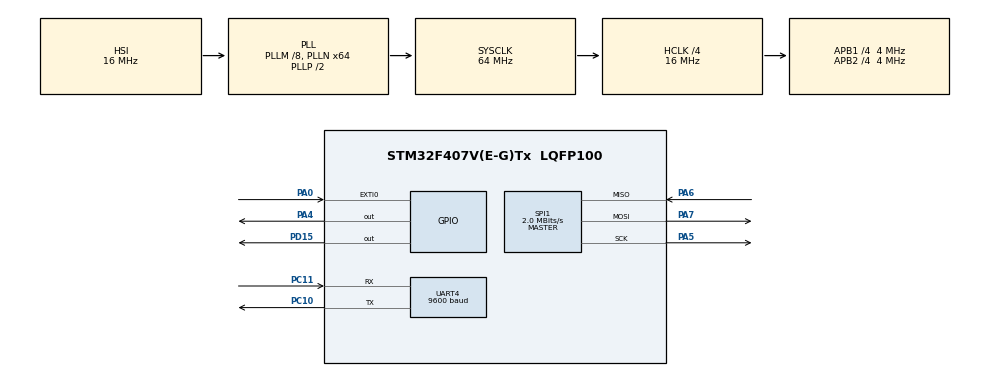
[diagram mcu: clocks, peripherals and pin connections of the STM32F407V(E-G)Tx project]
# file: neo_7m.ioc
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FATFS._MAX_SS=4096
FATFS._USE_LFN=1
Mcu.Family=STM32F4
Mcu.Name=STM32F407V(E-G)Tx
Mcu.Package=LQFP100
NVIC.EXTI0_IRQn=true\:0\:0\:false\:false\:true\:true\:true\:true
NVIC.PriorityGroup=NVIC_PRIORITYGROUP_0
NVIC.UART4_IRQn=true\:0\:0\:false\:false\:true\:true\:true\:true
PA0-WKUP.Signal=GPXTI0
PA4.Signal=GPIO_Output
PA5.GPIO_PuPd=GPIO_PULLUP
PA5.Mode=Full_Duplex_Master
PA5.Signal=SPI1_SCK
PA6.GPIO_PuPd=GPIO_PULLUP
PA6.Mode=Full_Duplex_Master
PA6.Signal=SPI1_MISO
PA7.GPIO_PuPd=GPIO_PULLUP
PA7.Mode=Full_Duplex_Master
PA7.Signal=SPI1_MOSI
PC10.Mode=Asynchronous
PC10.Signal=UART4_TX
PC11.Mode=Asynchronous
PC11.Signal=UART4_RX
PD15.Signal=GPIO_Output
ProjectManager.HeapSize=0x200
ProjectManager.StackSize=0x400
ProjectManager.TargetToolchain=STM32CubeIDE
RCC.48MHZClocksFreq_Value=18285714.285714287
RCC.AHBCLKDivider=RCC_SYSCLK_DIV4
RCC.AHBFreq_Value=16000000
RCC.APB1CLKDivider=RCC_HCLK_DIV4
RCC.APB1Freq_Value=4000000
RCC.APB1TimFreq_Value=8000000
RCC.APB2CLKDivider=RCC_HCLK_DIV4
RCC.APB2Freq_Value=4000000
RCC.APB2TimFreq_Value=8000000
RCC.CortexFreq_Value=16000000
RCC.HCLKFreq_Value=16000000
RCC.HSE_VALUE=8000000
RCC.HSI_VALUE=16000000
RCC.LSE_VALUE=32768
RCC.PLLM=8
RCC.PLLN=64
RCC.PLLQ=7
RCC.SYSCLKFreq_VALUE=64000000
RCC.SYSCLKSource=RCC_SYSCLKSOURCE_PLLCLK
RCC.VCOOutputFreq_Value=128000000
SPI1.BaudRatePrescaler=SPI_BAUDRATEPRESCALER_2
SPI1.CalculateBaudRate=2.0 MBits/s
SPI1.DataSize=SPI_DATASIZE_8BIT
SPI1.Direction=SPI_DIRECTION_2LINES
SPI1.Mode=SPI_MODE_MASTER
SPI1.VirtualType=VM_MASTER
UART4.BaudRate=9600
UART4.VirtualMode=Asynchronous
VP_FATFS_VS_Generic.Mode=User_defined
board=STM32F407G-DISC1

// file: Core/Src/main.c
/* USER CODE BEGIN Header */
/**
  ******************************************************************************
  * @file           : main.c
  * @brief          : Main program body
  ******************************************************************************
  * @attention
  *
  * Copyright (c) 2023 STMicroelectronics.
  * All rights reserved.
  *
  * This software is licensed under terms that can be found in the LICENSE file
  * in the root directory of this software component.
  * If no LICENSE file comes with this software, it is provided AS-IS.
  *
  ******************************************************************************
  */
/* USER CODE END Header */
#include "main.h"
#include "fatfs.h"

/* USER CODE BEGIN Includes */

#include <stdio.h>
/* USER CODE END Includes */

SPI_HandleTypeDef hspi1;

UART_HandleTypeDef huart4;

void SystemClock_Config(void);
static void MX_GPIO_Init(void);
static void MX_UART4_Init(void);
static void MX_SPI1_Init(void);

/* USER CODE BEGIN 0 */
volatile uint8_t uart_data=0u;
volatile uint8_t active=0u;
volatile uint8_t measurement_done=0u;
FATFS       FatFs;                //Fatfs handle
FIL         fil;                  //File handle
FRESULT     fres=FR_NOT_READY;
uint8_t new_byte=0u;
const char* start="\nstart\n\0";
//PC10-TX; PC11-RX, PA7-MOSI;PA6_MISO;PA5-SCK;PA4-CS

void HAL_UART_RxCpltCallback(UART_HandleTypeDef *huart)
{
	new_byte=1;
}

void HAL_GPIO_EXTI_Callback(uint16_t GPIO_Pin)
{
	if(!active)
	{
		active=1;
		measurement_done=0;
		HAL_GPIO_TogglePin(GPIOD, GPIO_PIN_15);
	}else{
		active=0;
		measurement_done=1;
		HAL_GPIO_TogglePin(GPIOD, GPIO_PIN_15);
	}
}
/* USER CODE END 0 */

int main(void)
{

  /* MCU Configuration--------------------------------------------------------*/

  /* Reset of all peripherals, Initializes the Flash interface and the Systick. */
  HAL_Init();

  /* Configure the system clock */
  SystemClock_Config();

  /* Initialize all configured peripherals */
  MX_GPIO_Init();
  MX_UART4_Init();
  MX_SPI1_Init();
  MX_FATFS_Init();
  /* USER CODE BEGIN 2 */

  HAL_UART_Receive_IT(&huart4, &uart_data, 1);
  /* USER CODE END 2 */

  /* Infinite loop */
  while (1)
  {
	  if(fres!=FR_OK)
	  {
		  f_mount(&FatFs, "", 0);
		  fres = f_open(&fil, "test.txt", FA_OPEN_APPEND | FA_WRITE);
		  f_puts(start,&fil);

	  }
	  while(active)
	  {
		  if(new_byte)
		  {
			f_putc(uart_data, &fil);
			new_byte=0;
			HAL_UART_Receive_IT(&huart4, &uart_data, 1);
		  }
	  }
	  if(measurement_done)
	  {
		  f_close(&fil);
		  f_mount(NULL, "", 0);
		  fres=FR_NOT_READY;
		  measurement_done=0;
	  }
  }
}

void SystemClock_Config(void)
{
  RCC_OscInitTypeDef RCC_OscInitStruct = {0};
  RCC_ClkInitTypeDef RCC_ClkInitStruct = {0};

  /** Configure the main internal regulator output voltage
  */
  __HAL_RCC_PWR_CLK_ENABLE();
  __HAL_PWR_VOLTAGESCALING_CONFIG(PWR_REGULATOR_VOLTAGE_SCALE1);

  /** Initializes the RCC Oscillators according to the specified parameters
  * in the RCC_OscInitTypeDef structure.
  */
  RCC_OscInitStruct.OscillatorType = RCC_OSCILLATORTYPE_HSI;
  RCC_OscInitStruct.HSIState = RCC_HSI_ON;
  RCC_OscInitStruct.HSICalibrationValue = RCC_HSICALIBRATION_DEFAULT;
  RCC_OscInitStruct.PLL.PLLState = RCC_PLL_ON;
  RCC_OscInitStruct.PLL.PLLSource = RCC_PLLSOURCE_HSI;
  RCC_OscInitStruct.PLL.PLLM = 8;
  RCC_OscInitStruct.PLL.PLLN = 64;
  RCC_OscInitStruct.PLL.PLLP = RCC_PLLP_DIV2;
  RCC_OscInitStruct.PLL.PLLQ = 7;
  if (HAL_RCC_OscConfig(&RCC_OscInitStruct) != HAL_OK)
  {
    Error_Handler();
  }

  /** Initializes the CPU, AHB and APB buses clocks
  */
  RCC_ClkInitStruct.ClockType = RCC_CLOCKTYPE_HCLK|RCC_CLOCKTYPE_SYSCLK
                              |RCC_CLOCKTYPE_PCLK1|RCC_CLOCKTYPE_PCLK2;
  RCC_ClkInitStruct.SYSCLKSource = RCC_SYSCLKSOURCE_PLLCLK;
  RCC_ClkInitStruct.AHBCLKDivider = RCC_SYSCLK_DIV4;
  RCC_ClkInitStruct.APB1CLKDivider = RCC_HCLK_DIV4;
  RCC_ClkInitStruct.APB2CLKDivider = RCC_HCLK_DIV4;

  if (HAL_RCC_ClockConfig(&RCC_ClkInitStruct, FLASH_LATENCY_0) != HAL_OK)
  {
    Error_Handler();
  }
}

static void MX_SPI1_Init(void)
{

  /* SPI1 parameter configuration*/
  hspi1.Instance = SPI1;
  hspi1.Init.Mode = SPI_MODE_MASTER;
  hspi1.Init.Direction = SPI_DIRECTION_2LINES;
  hspi1.Init.DataSize = SPI_DATASIZE_8BIT;
  hspi1.Init.CLKPolarity = SPI_POLARITY_LOW;
  hspi1.Init.CLKPhase = SPI_PHASE_1EDGE;
  hspi1.Init.NSS = SPI_NSS_SOFT;
  hspi1.Init.BaudRatePrescaler = SPI_BAUDRATEPRESCALER_2;
  hspi1.Init.FirstBit = SPI_FIRSTBIT_MSB;
  hspi1.Init.TIMode = SPI_TIMODE_DISABLE;
  hspi1.Init.CRCCalculation = SPI_CRCCALCULATION_DISABLE;
  hspi1.Init.CRCPolynomial = 10;
  if (HAL_SPI_Init(&hspi1) != HAL_OK)
  {
    Error_Handler();
  }

}

static void MX_UART4_Init(void)
{

  huart4.Instance = UART4;
  huart4.Init.BaudRate = 9600;
  huart4.Init.WordLength = UART_WORDLENGTH_8B;
  huart4.Init.StopBits = UART_STOPBITS_1;
  huart4.Init.Parity = UART_PARITY_NONE;
  huart4.Init.Mode = UART_MODE_TX_RX;
  huart4.Init.HwFlowCtl = UART_HWCONTROL_NONE;
  huart4.Init.OverSampling = UART_OVERSAMPLING_16;
  if (HAL_UART_Init(&huart4) != HAL_OK)
  {
    Error_Handler();
  }

}

static void MX_GPIO_Init(void)
{
  GPIO_InitTypeDef GPIO_InitStruct = {0};

  /* GPIO Ports Clock Enable */
  __HAL_RCC_GPIOA_CLK_ENABLE();
  __HAL_RCC_GPIOD_CLK_ENABLE();
  __HAL_RCC_GPIOC_CLK_ENABLE();

  /*Configure GPIO pin Output Level */
  HAL_GPIO_WritePin(GPIOA, GPIO_PIN_4, GPIO_PIN_RESET);

  /*Configure GPIO pin Output Level */
  HAL_GPIO_WritePin(GPIOD, GPIO_PIN_15, GPIO_PIN_RESET);

  /*Configure GPIO pin : PA0 */
  GPIO_InitStruct.Pin = GPIO_PIN_0;
  GPIO_InitStruct.Mode = GPIO_MODE_IT_RISING;
  GPIO_InitStruct.Pull = GPIO_NOPULL;
  HAL_GPIO_Init(GPIOA, &GPIO_InitStruct);

  /*Configure GPIO pin : PA4 */
  GPIO_InitStruct.Pin = GPIO_PIN_4;
  GPIO_InitStruct.Mode = GPIO_MODE_OUTPUT_PP;
  GPIO_InitStruct.Pull = GPIO_NOPULL;
  GPIO_InitStruct.Speed = GPIO_SPEED_FREQ_LOW;
  HAL_GPIO_Init(GPIOA, &GPIO_InitStruct);

  /*Configure GPIO pin : PD15 */
  GPIO_InitStruct.Pin = GPIO_PIN_15;
  GPIO_InitStruct.Mode = GPIO_MODE_OUTPUT_PP;
  GPIO_InitStruct.Pull = GPIO_NOPULL;
  GPIO_InitStruct.Speed = GPIO_SPEED_FREQ_LOW;
  HAL_GPIO_Init(GPIOD, &GPIO_InitStruct);

  /* EXTI interrupt init*/
  HAL_NVIC_SetPriority(EXTI0_IRQn, 0, 0);
  HAL_NVIC_EnableIRQ(EXTI0_IRQn);

}

void Error_Handler(void)
{
  __disable_irq();
  while (1)
  {
  }
}
